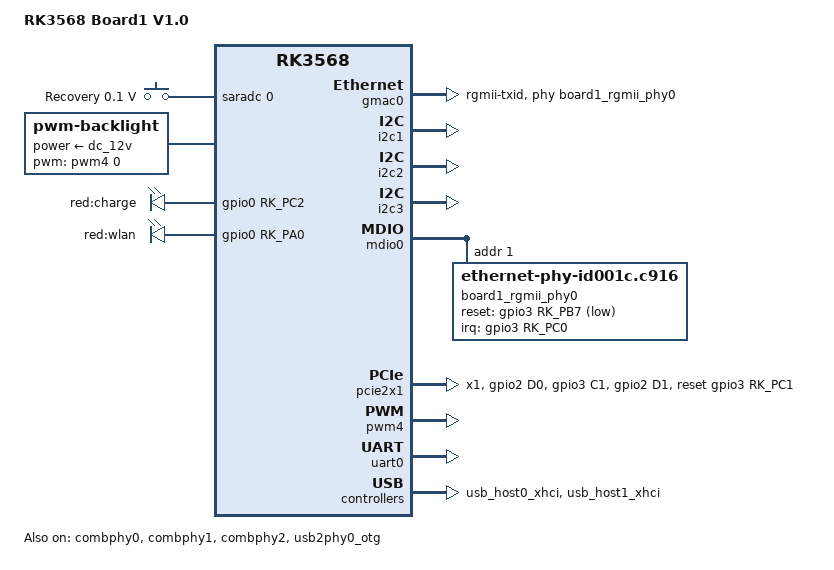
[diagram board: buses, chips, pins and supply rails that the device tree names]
// SPDX-License-Identifier: (GPL-2.0+ OR MIT)
/*
 * Device tree for the RK3568 Board1 V1.0 schematic (24 sheets,
 * last updated 2026-08-14).
 *
 * The power tree is derived from the RK3568 EVB1 because Board1 uses the
 * same RK809-5 rail assignment and the same I2C CPU regulator topology.
 */

/dts-v1/;

#include <dt-bindings/input/input.h>
#include "rk3568-evb1-v10.dts"

/ {
	model = "RK3568 Board1 V1.0";
	compatible = "board1,rk3568-board1", "rockchip,rk3568";

	aliases {
		/delete-property/ ethernet1;
		ethernet0 = &gmac0;
		mmc0 = &sdhci;
		mmc1 = &sdmmc0;
	};

	adc-keys {
		compatible = "adc-keys";
		io-channels = <&saradc 0>;
		io-channel-names = "buttons";
		keyup-threshold-microvolt = <1800000>;

		recovery-key {
			label = "Recovery";
			linux,code = <KEY_VENDOR>;
			press-threshold-microvolt = <100000>;
		};
	};

	backlight: backlight {
		compatible = "pwm-backlight";
		brightness-levels = <
			0  8  16  24  32  40  48  56
			64 72 80 88 96 104 112 120
			128 136 144 152 160 168 176 184
			192 200 208 216 224 232 240 255
		>;
		default-brightness-level = <16>;
		power-supply = <&dc_12v>;
		pwms = <&pwm4 0 25000 0>;
		status = "okay";
	};

	/delete-node/ leds;
	leds {
		compatible = "gpio-leds";
		pinctrl-names = "default";
		pinctrl-0 = <&charge_led_pin &wifi_led_pin>;

		charge-led {
			label = "red:charge";
			gpios = <&gpio0 RK_PC2 GPIO_ACTIVE_HIGH>;
		};

		wifi-led {
			label = "red:wlan";
			gpios = <&gpio0 RK_PA0 GPIO_ACTIVE_HIGH>;
			linux,default-trigger = "phy0radio";
		};
	};
};

/* USB3 OTG0 SuperSpeed pairs are not routed, but its USB2 Type-C port is. */
&combphy0 {
	status = "okay";
};

/* USB3 HOST1 SuperSpeed pairs are routed to the USB-A connector. */
&combphy1 {
	status = "okay";
};

/* MULTI_PHY2 is wired as PCIe 2.0 x1. */
&combphy2 {
	status = "okay";
};

&gmac0 {
	phy-mode = "rgmii-txid";
	phy-handle = <&board1_rgmii_phy0>;
	/* RTL8211F strap enables TX delay and disables RX delay. */
	tx_delay = <0x00>;
	rx_delay = <0x10>;
	status = "okay";
};

/* GMAC1 data lanes are not routed; only four sideband signals reach FPC4. */
&gmac1 {
	status = "disabled";
};

/* The touch connector is unpopulated and does not identify a controller. */
&touchscreen0 {
	status = "disabled";
};

/* Touch-panel connector: I2C1 plus GPIO0_B5 interrupt/GPIO0_B6 reset. */
&i2c1 {
	status = "okay";
};

/* Camera connector: I2C2 M1 plus GPIO3_D4 reset. */
&i2c2 {
	pinctrl-names = "default";
	pinctrl-0 = <&i2c2m1_xfer>;
	status = "okay";
};

/* FPC1 expansion connector. */
&i2c3 {
	pinctrl-names = "default";
	pinctrl-0 = <&i2c3m0_xfer>;
	status = "okay";
};

&mdio0 {
	/delete-node/ ethernet-phy@0;

	board1_rgmii_phy0: ethernet-phy@1 {
		compatible = "ethernet-phy-id001c.c916",
			     "ethernet-phy-ieee802.3-c22";
		reg = <0x1>;
		interrupt-parent = <&gpio3>;
		interrupts = <RK_PC0 IRQ_TYPE_LEVEL_LOW>;
		pinctrl-names = "default";
		pinctrl-0 = <&gmac0_phy_int_pin &gmac0_phy_reset_pin>;
		reset-assert-us = <20000>;
		reset-deassert-us = <100000>;
		reset-gpios = <&gpio3 RK_PB7 GPIO_ACTIVE_LOW>;
	};
};

&pcie2x1 {
	num-lanes = <1>;
	pinctrl-names = "default";
	pinctrl-0 = <&pcie20_board1_pins>;
	reset-gpios = <&gpio3 RK_PC1 GPIO_ACTIVE_HIGH>;
	status = "okay";
};

&pinctrl {
	display {
		lcd_reset_pin: lcd-reset-pin {
			rockchip,pins =
				<3 RK_PC7 RK_FUNC_GPIO &pcfg_pull_none>;
		};
	};

	ethernet {
		gmac0_phy_int_pin: gmac0-phy-int-pin {
			rockchip,pins =
				<3 RK_PC0 RK_FUNC_GPIO &pcfg_pull_up>;
		};

		gmac0_phy_reset_pin: gmac0-phy-reset-pin {
			rockchip,pins =
				<3 RK_PB7 RK_FUNC_GPIO &pcfg_pull_up>;
		};
	};

	leds {
		charge_led_pin: charge-led-pin {
			rockchip,pins =
				<0 RK_PC2 RK_FUNC_GPIO &pcfg_pull_none>;
		};

		wifi_led_pin: wifi-led-pin {
			rockchip,pins =
				<0 RK_PA0 RK_FUNC_GPIO &pcfg_pull_none>;
		};
	};

	pcie {
		pcie20_board1_pins: pcie20-board1-pins {
			rockchip,pins =
				/* PCIE20_CLKREQn_M1 */
				<2 RK_PD0 4 &pcfg_pull_none>,
				/* PCIE20_PERSTn_M1, driven as GPIO */
				<3 RK_PC1 RK_FUNC_GPIO &pcfg_pull_none>,
				/* PCIE20_WAKEn_M1 */
				<2 RK_PD1 4 &pcfg_pull_none>;
		};
	};

	usb {
		vcc5v0_usb_otg_board1_en: vcc5v0-usb-otg-board1-en {
			rockchip,pins =
				<0 RK_PD6 RK_FUNC_GPIO &pcfg_pull_none>;
		};
	};
};

&pwm4 {
	pinctrl-names = "default";
	pinctrl-0 = <&pwm4_pins>;
	status = "okay";
};

&uart0 {
	pinctrl-names = "default";
	pinctrl-0 = <&uart0_xfer>;
	status = "okay";
};

/* Type-C U16 is USB2-only and USB3_OTG0_ID is left unconnected. */
&usb_host0_xhci {
	extcon = <&usb2phy0>;
	status = "okay";
};

/* USB2_HOST3 is marked no-connect on the schematic. */
&usb_host0_ehci {
	status = "disabled";
};

&usb_host0_ohci {
	status = "disabled";
};

&usb_host1_xhci {
	status = "okay";
};

&usb2phy0_otg {
	phy-supply = <&vcc5v0_usb_otg>;
	status = "okay";
};

&usb2phy1_otg {
	status = "disabled";
};

&vcc5v0_usb_otg {
	gpios = <&gpio0 RK_PD6 GPIO_ACTIVE_HIGH>;
	pinctrl-0 = <&vcc5v0_usb_otg_board1_en>;
};

/* Board1 powers the LCD connector directly; these EVB-only switches are absent. */
&vcc3v3_lcd0_n {
	status = "disabled";
};

&vcc3v3_lcd1_n {
	status = "disabled";
};
